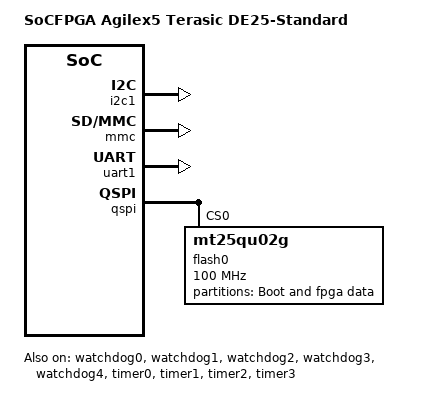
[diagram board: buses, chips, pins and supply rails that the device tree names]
// SPDX-License-Identifier:     GPL-2.0
/*
 * Terasic DE25-Standard (Agilex 5 A5ED013BB32AE4SCS), for this repo's
 * de25_soc HPS pin mux: EMAC0, SD/MMC, UART1, I2C1, QSPI. No USB0, SPIM0,
 * HPS_LED or HPS_KEY in the pin mux.
 *
 * Derived from upstream socfpga_agilex5_de25_nano.dts (u-boot-socfpga
 * socfpga_v2026.04) and Terasic's socfpga_agilex5_de25s.dts
 * (terasic/u-boot-socfpga de25-standard-v2025.01). Copied into the U-Boot
 * tree by linux/build_de25_linux.sh.
 */
#include "socfpga_agilex5.dtsi"

/ {
	model = "SoCFPGA Agilex5 Terasic DE25-Standard";

	aliases {
		serial0 = &uart1;
		ethernet0 = &gmac0;
	};

	memory {
		device_type = "memory";
		/* We expect the bootloader to fill in the reg */
		reg = <0 0 0 0>;
	};

	soc {
		clocks {
			osc1 {
				clock-frequency = <25000000>;
			};
		};
	};
};

&gpio1 {
	status = "okay";
};

&i2c1 {
	status = "okay";
};

&mmc {
	status = "okay";
	sdhci-caps-mask = <0x00002007 0x0000ff00>;
};

&sd_emmc_power {
	bootph-all;
};

/* 3.3 V-only card slot: no 1.8 V switch GPIO on this board */
&sd_io_1v8_reg {
	status = "disabled";
};

&uart1 {
	status = "okay";
	bootph-all;
};

&watchdog0 {
	status = "okay";
};

&watchdog1 {
	status = "okay";
};

&watchdog2 {
	status = "okay";
};

&watchdog3 {
	status = "okay";
};

&watchdog4 {
	status = "okay";
};

&timer0 {
	status = "okay";
};

&timer1 {
	status = "okay";
};

&timer2 {
	status = "okay";
};

&timer3 {
	status = "okay";
};

&qspi {
	flash0: flash@0 {
		#address-cells = <1>;
		#size-cells = <1>;
		compatible = "mt25qu02g";
		reg = <0>;
		spi-max-frequency = <100000000>;

		m25p,fast-read;
		cdns,page-size = <256>;
		cdns,block-size = <16>;
		cdns,read-delay = <1>;
		cdns,tshsl-ns = <50>;
		cdns,tsd2d-ns = <50>;
		cdns,tchsh-ns = <4>;
		cdns,tslch-ns = <4>;

		partitions {
			compatible = "fixed-partitions";
			#address-cells = <1>;
			#size-cells = <1>;

			qspi_boot: partition@0 {
				label = "Boot and fpga data";
				reg = <0x0 0x01000000>;
			};
		};
	};
};

&nand {
	status = "disabled";

	flash1: flash@0 {
		reg = <0>;
		#address-cells = <1>;
		#size-cells = <1>;

		partition@0 {
			label = "u-boot";
			reg = <0 0x200000>;
		};
		partition@200000 {
			label = "root";
			reg = <0x200000 0x3fe00000>;
		};
	};
};
